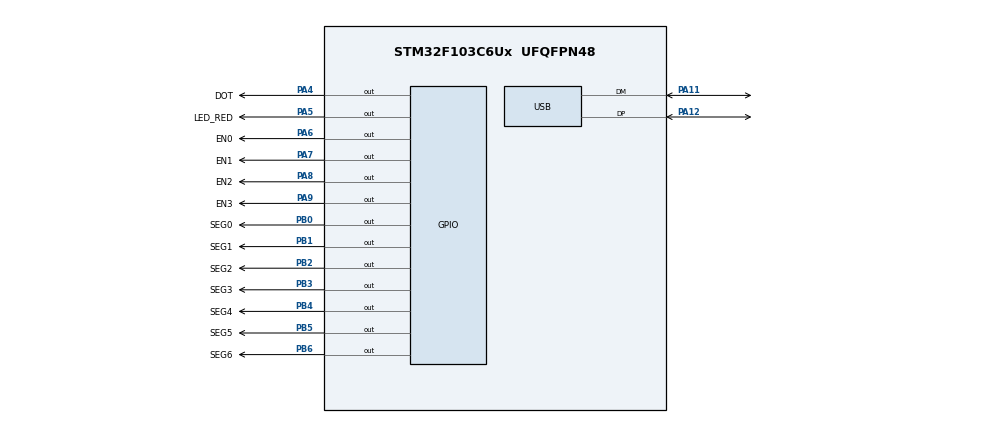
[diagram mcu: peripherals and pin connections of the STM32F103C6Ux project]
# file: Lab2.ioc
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Mcu.Family=STM32F1
Mcu.Name=STM32F103C6Ux
Mcu.Package=UFQFPN48
NVIC.PriorityGroup=NVIC_PRIORITYGROUP_4
NVIC.TIM2_IRQn=true\:0\:0\:false\:false\:true\:true\:true
NVIC.USB_HP_CAN1_TX_IRQn=true\:0\:0\:false\:false\:true\:true\:true
NVIC.USB_LP_CAN1_RX0_IRQn=true\:0\:0\:false\:false\:true\:true\:true
PA11.Mode=Device
PA11.Signal=USB_DM
PA12.Mode=Device
PA12.Signal=USB_DP
PA13.Mode=Serial_Wire
PA13.Signal=SYS_JTMS-SWDIO
PA14.Mode=Serial_Wire
PA14.Signal=SYS_JTCK-SWCLK
PA4.GPIO_Label=DOT
PA4.Signal=GPIO_Output
PA5.GPIO_Label=LED_RED
PA5.Signal=GPIO_Output
PA6.GPIO_Label=EN0
PA6.Signal=GPIO_Output
PA7.GPIO_Label=EN1
PA7.Signal=GPIO_Output
PA8.GPIO_Label=EN2
PA8.Signal=GPIO_Output
PA9.GPIO_Label=EN3
PA9.Signal=GPIO_Output
PB0.GPIO_Label=SEG0
PB0.Signal=GPIO_Output
PB1.GPIO_Label=SEG1
PB1.Signal=GPIO_Output
PB2.GPIO_Label=SEG2
PB2.Signal=GPIO_Output
PB3.GPIO_Label=SEG3
PB3.Signal=GPIO_Output
PB4.GPIO_Label=SEG4
PB4.Signal=GPIO_Output
PB5.GPIO_Label=SEG5
PB5.Signal=GPIO_Output
PB6.GPIO_Label=SEG6
PB6.Signal=GPIO_Output
ProjectManager.HeapSize=0x200
ProjectManager.StackSize=0x400
ProjectManager.TargetToolchain=STM32CubeIDE
RCC.APB1Freq_Value=8000000
RCC.APB2Freq_Value=8000000
RCC.PLLSource=RCC_PLLSOURCE_HSI_DIV2
RCC.PLLSourceVirtual=RCC_PLLSOURCE_HSI_DIV2
TIM2.Period=9
TIM2.Prescaler=7999
VP_TIM2_VS_ClockSourceINT.Mode=Internal
board=custom

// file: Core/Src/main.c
/* USER CODE BEGIN Header */
/**
  ******************************************************************************
  * @file           : main.c
  * @brief          : Main program body
  ******************************************************************************
  * @attention
  *
  * <h2><center>&copy; Copyright (c) 2023 STMicroelectronics.
  * All rights reserved.</center></h2>
  *
  * This software component is licensed by ST under BSD 3-Clause license,
  * the "License"; You may not use this file except in compliance with the
  * License. You may obtain a copy of the License at:
  *                        opensource.org/licenses/BSD-3-Clause
  *
  ******************************************************************************
  */
/* USER CODE END Header */
#include "main.h"

TIM_HandleTypeDef htim2;

PCD_HandleTypeDef hpcd_USB_FS;

void SystemClock_Config(void);
static void MX_GPIO_Init(void);
static void MX_TIM2_Init(void);
static void MX_USB_PCD_Init(void);

/* USER CODE BEGIN 0 */
void display7SEG(int num){
	  if( num == 0){
		  	  	  HAL_GPIO_WritePin(SEG0_GPIO_Port, SEG0_Pin, RESET);
		  	  	  HAL_GPIO_WritePin(SEG1_GPIO_Port, SEG1_Pin, RESET);
		  	  	  HAL_GPIO_WritePin(SEG2_GPIO_Port, SEG2_Pin, RESET);
		  	  	  HAL_GPIO_WritePin(SEG3_GPIO_Port, SEG3_Pin, RESET);
		  	  	  HAL_GPIO_WritePin(SEG4_GPIO_Port, SEG4_Pin, RESET);
		  	  	  HAL_GPIO_WritePin(SEG5_GPIO_Port, SEG5_Pin, RESET);
		  	  	  HAL_GPIO_WritePin(SEG6_GPIO_Port, SEG6_Pin, SET);
	  }
	  else if( num == 1){
	    	  	  HAL_GPIO_WritePin(SEG0_GPIO_Port, SEG0_Pin, SET);
	    	  	  HAL_GPIO_WritePin(SEG1_GPIO_Port, SEG1_Pin, RESET);
	    	  	  HAL_GPIO_WritePin(SEG2_GPIO_Port, SEG2_Pin, RESET);
	    	  	  HAL_GPIO_WritePin(SEG3_GPIO_Port, SEG3_Pin, SET);
	    	  	  HAL_GPIO_WritePin(SEG4_GPIO_Port, SEG4_Pin, SET);
	    	  	  HAL_GPIO_WritePin(SEG5_GPIO_Port, SEG5_Pin, SET);
	    	  	  HAL_GPIO_WritePin(SEG6_GPIO_Port, SEG6_Pin, SET);
	  }
	  else if( num == 2){
	    	  	  HAL_GPIO_WritePin(SEG0_GPIO_Port, SEG0_Pin, RESET);
	    	  	  HAL_GPIO_WritePin(SEG1_GPIO_Port, SEG1_Pin, RESET);
	    	  	  HAL_GPIO_WritePin(SEG2_GPIO_Port, SEG2_Pin, SET);
	    	  	  HAL_GPIO_WritePin(SEG3_GPIO_Port, SEG3_Pin, RESET);
	    	  	  HAL_GPIO_WritePin(SEG4_GPIO_Port, SEG4_Pin, RESET);
	    	  	  HAL_GPIO_WritePin(SEG5_GPIO_Port, SEG5_Pin, SET);
	    	  	  HAL_GPIO_WritePin(SEG6_GPIO_Port, SEG6_Pin, RESET);
	  }
	  else if( num == 3){
	    	  	  HAL_GPIO_WritePin(SEG0_GPIO_Port, SEG0_Pin, RESET);
	    	  	  HAL_GPIO_WritePin(SEG1_GPIO_Port, SEG1_Pin, RESET);
	    	  	  HAL_GPIO_WritePin(SEG2_GPIO_Port, SEG2_Pin, RESET);
	    	  	  HAL_GPIO_WritePin(SEG3_GPIO_Port, SEG3_Pin, RESET);
	    	  	  HAL_GPIO_WritePin(SEG4_GPIO_Port, SEG4_Pin, SET);
	    	  	  HAL_GPIO_WritePin(SEG5_GPIO_Port, SEG5_Pin, SET);
	    	  	  HAL_GPIO_WritePin(SEG6_GPIO_Port, SEG6_Pin, RESET);
	  }
	  else if( num == 4){
	    	  	  HAL_GPIO_WritePin(SEG0_GPIO_Port, SEG0_Pin, SET);
	    	  	  HAL_GPIO_WritePin(SEG1_GPIO_Port, SEG1_Pin, RESET);
	    	  	  HAL_GPIO_WritePin(SEG2_GPIO_Port, SEG2_Pin, RESET);
	    	  	  HAL_GPIO_WritePin(SEG3_GPIO_Port, SEG3_Pin, SET);
	    	  	  HAL_GPIO_WritePin(SEG4_GPIO_Port, SEG4_Pin, SET);
	    	  	  HAL_GPIO_WritePin(SEG5_GPIO_Port, SEG5_Pin, RESET);
	    	  	  HAL_GPIO_WritePin(SEG6_GPIO_Port, SEG6_Pin, RESET);
	  }
	  else if( num == 5){
	    	  	  HAL_GPIO_WritePin(SEG0_GPIO_Port, SEG0_Pin, RESET);
	    	  	  HAL_GPIO_WritePin(SEG1_GPIO_Port, SEG1_Pin, SET);
	    	  	  HAL_GPIO_WritePin(SEG2_GPIO_Port, SEG2_Pin, RESET);
	    	  	  HAL_GPIO_WritePin(SEG3_GPIO_Port, SEG3_Pin, RESET);
	    	  	  HAL_GPIO_WritePin(SEG4_GPIO_Port, SEG4_Pin, SET);
	    	  	  HAL_GPIO_WritePin(SEG5_GPIO_Port, SEG5_Pin, RESET);
	    	  	  HAL_GPIO_WritePin(SEG6_GPIO_Port, SEG6_Pin, RESET);
	  }
	  else if( num == 6){
	    	  	  HAL_GPIO_WritePin(SEG0_GPIO_Port, SEG0_Pin, RESET);
	    	  	  HAL_GPIO_WritePin(SEG1_GPIO_Port, SEG1_Pin, SET);
	    	  	  HAL_GPIO_WritePin(SEG2_GPIO_Port, SEG2_Pin, RESET);
	    	  	  HAL_GPIO_WritePin(SEG3_GPIO_Port, SEG3_Pin, RESET);
	    	  	  HAL_GPIO_WritePin(SEG4_GPIO_Port, SEG4_Pin, RESET);
	    	  	  HAL_GPIO_WritePin(SEG5_GPIO_Port, SEG5_Pin, RESET);
	    	  	  HAL_GPIO_WritePin(SEG6_GPIO_Port, SEG6_Pin, RESET);
	  }
	  else if( num == 7){
	    	  	  HAL_GPIO_WritePin(SEG0_GPIO_Port, SEG0_Pin, RESET);
	    	  	  HAL_GPIO_WritePin(SEG1_GPIO_Port, SEG1_Pin, RESET);
	    	  	  HAL_GPIO_WritePin(SEG2_GPIO_Port, SEG2_Pin, RESET);
	    	  	  HAL_GPIO_WritePin(SEG3_GPIO_Port, SEG3_Pin, SET);
	    	  	  HAL_GPIO_WritePin(SEG4_GPIO_Port, SEG4_Pin, SET);
	    	  	  HAL_GPIO_WritePin(SEG5_GPIO_Port, SEG5_Pin, SET);
	    	  	  HAL_GPIO_WritePin(SEG6_GPIO_Port, SEG6_Pin, SET);
	  }
	  else if( num == 8){
	    	  	  HAL_GPIO_WritePin(SEG0_GPIO_Port, SEG0_Pin, RESET);
	    	  	  HAL_GPIO_WritePin(SEG1_GPIO_Port, SEG1_Pin, RESET);
	    	  	  HAL_GPIO_WritePin(SEG2_GPIO_Port, SEG2_Pin, RESET);
	    	  	  HAL_GPIO_WritePin(SEG3_GPIO_Port, SEG3_Pin, RESET);
	    	  	  HAL_GPIO_WritePin(SEG4_GPIO_Port, SEG4_Pin, RESET);
	    	  	  HAL_GPIO_WritePin(SEG5_GPIO_Port, SEG5_Pin, RESET);
	    	  	  HAL_GPIO_WritePin(SEG6_GPIO_Port, SEG6_Pin, RESET);
	  }
	  else if( num == 9){
	    	  	  HAL_GPIO_WritePin(SEG0_GPIO_Port, SEG0_Pin, RESET);
	    	  	  HAL_GPIO_WritePin(SEG1_GPIO_Port, SEG1_Pin, RESET);
	    	  	  HAL_GPIO_WritePin(SEG2_GPIO_Port, SEG2_Pin, RESET);
	    	  	  HAL_GPIO_WritePin(SEG3_GPIO_Port, SEG3_Pin, RESET);
	    	  	  HAL_GPIO_WritePin(SEG4_GPIO_Port, SEG4_Pin, SET);
	    	  	  HAL_GPIO_WritePin(SEG5_GPIO_Port, SEG5_Pin, RESET);
	    	  	  HAL_GPIO_WritePin(SEG6_GPIO_Port, SEG6_Pin, RESET);
	  }

}
const int MAX_LED = 4;
int index_led = 0;
int led_buffer[4] = {1, 2, 3, 4};
void update7SEG(int index){
    switch (index){
		case 0: {
			display7SEG(led_buffer[index]);
			break ;
		}
		case 1:{
			display7SEG(led_buffer[index]);
			break ;
		}
		case 2:{
			display7SEG(led_buffer[index]);
			break ;
		}
		case 3:{
			display7SEG(led_buffer[index]);
			break ;
		}
		default :{
		break ;
		}
    }
}
void updateClockBuffer(int hour, int minute){
	if (hour < 10){
		led_buffer[0] = 0;
		led_buffer[1] = hour;
	} else {
		led_buffer[0] = hour / 10;
		led_buffer[1] = hour % 10;
	}
	if (minute < 10){
		led_buffer[2] = 0;
		led_buffer[3] = minute;
	} else {
		led_buffer[2] = minute / 10;
		led_buffer[3] = minute % 10;
	}
}

/* USER CODE END 0 */

int main(void)
{

  /* MCU Configuration--------------------------------------------------------*/

  /* Reset of all peripherals, Initializes the Flash interface and the Systick. */
  HAL_Init();

  /* Configure the system clock */
  SystemClock_Config();

  /* Initialize all configured peripherals */
  MX_GPIO_Init();
  MX_TIM2_Init();
  MX_USB_PCD_Init();
  /* USER CODE BEGIN 2 */
  HAL_TIM_Base_Start_IT(&htim2);
  /* USER CODE END 2 */
  int hour = 15 , minute = 8 , second = 50;
  /* Infinite loop */
  /* USER CODE BEGIN WHILE */
  while (1)
  {
	  second ++;
	  if ( second >= 60) {
	  	  second = 0;
	  	   minute ++;
	  }
	  if( minute >= 60) {
	  	   minute = 0;
	  	   hour ++;
	  }
	  if( hour >=24){
	  	   hour = 0;
	  }
	  updateClockBuffer (hour, minute);
	  HAL_Delay (1000) ;
    /* USER CODE END WHILE */

  }
}

void SystemClock_Config(void)
{
  RCC_OscInitTypeDef RCC_OscInitStruct = {0};
  RCC_ClkInitTypeDef RCC_ClkInitStruct = {0};
  RCC_PeriphCLKInitTypeDef PeriphClkInit = {0};

  /** Initializes the RCC Oscillators according to the specified parameters
  * in the RCC_OscInitTypeDef structure.
  */
  RCC_OscInitStruct.OscillatorType = RCC_OSCILLATORTYPE_HSI;
  RCC_OscInitStruct.HSIState = RCC_HSI_ON;
  RCC_OscInitStruct.HSICalibrationValue = RCC_HSICALIBRATION_DEFAULT;
  RCC_OscInitStruct.PLL.PLLState = RCC_PLL_ON;
  RCC_OscInitStruct.PLL.PLLSource = RCC_PLLSOURCE_HSI_DIV2;
  RCC_OscInitStruct.PLL.PLLMUL = RCC_PLL_MUL2;
  if (HAL_RCC_OscConfig(&RCC_OscInitStruct) != HAL_OK)
  {
    Error_Handler();
  }
  /** Initializes the CPU, AHB and APB buses clocks
  */
  RCC_ClkInitStruct.ClockType = RCC_CLOCKTYPE_HCLK|RCC_CLOCKTYPE_SYSCLK
                              |RCC_CLOCKTYPE_PCLK1|RCC_CLOCKTYPE_PCLK2;
  RCC_ClkInitStruct.SYSCLKSource = RCC_SYSCLKSOURCE_HSI;
  RCC_ClkInitStruct.AHBCLKDivider = RCC_SYSCLK_DIV1;
  RCC_ClkInitStruct.APB1CLKDivider = RCC_HCLK_DIV1;
  RCC_ClkInitStruct.APB2CLKDivider = RCC_HCLK_DIV1;

  if (HAL_RCC_ClockConfig(&RCC_ClkInitStruct, FLASH_LATENCY_0) != HAL_OK)
  {
    Error_Handler();
  }
  PeriphClkInit.PeriphClockSelection = RCC_PERIPHCLK_USB;
  PeriphClkInit.UsbClockSelection = RCC_USBCLKSOURCE_PLL;
  if (HAL_RCCEx_PeriphCLKConfig(&PeriphClkInit) != HAL_OK)
  {
    Error_Handler();
  }
}

static void MX_TIM2_Init(void)
{

  TIM_ClockConfigTypeDef sClockSourceConfig = {0};
  TIM_MasterConfigTypeDef sMasterConfig = {0};

  htim2.Instance = TIM2;
  htim2.Init.Prescaler = 7999;
  htim2.Init.CounterMode = TIM_COUNTERMODE_UP;
  htim2.Init.Period = 9;
  htim2.Init.ClockDivision = TIM_CLOCKDIVISION_DIV1;
  htim2.Init.AutoReloadPreload = TIM_AUTORELOAD_PRELOAD_DISABLE;
  if (HAL_TIM_Base_Init(&htim2) != HAL_OK)
  {
    Error_Handler();
  }
  sClockSourceConfig.ClockSource = TIM_CLOCKSOURCE_INTERNAL;
  if (HAL_TIM_ConfigClockSource(&htim2, &sClockSourceConfig) != HAL_OK)
  {
    Error_Handler();
  }
  sMasterConfig.MasterOutputTrigger = TIM_TRGO_RESET;
  sMasterConfig.MasterSlaveMode = TIM_MASTERSLAVEMODE_DISABLE;
  if (HAL_TIMEx_MasterConfigSynchronization(&htim2, &sMasterConfig) != HAL_OK)
  {
    Error_Handler();
  }

}

static void MX_USB_PCD_Init(void)
{

  hpcd_USB_FS.Instance = USB;
  hpcd_USB_FS.Init.dev_endpoints = 8;
  hpcd_USB_FS.Init.speed = PCD_SPEED_FULL;
  hpcd_USB_FS.Init.low_power_enable = DISABLE;
  hpcd_USB_FS.Init.lpm_enable = DISABLE;
  hpcd_USB_FS.Init.battery_charging_enable = DISABLE;
  if (HAL_PCD_Init(&hpcd_USB_FS) != HAL_OK)
  {
    Error_Handler();
  }

}

static void MX_GPIO_Init(void)
{
  GPIO_InitTypeDef GPIO_InitStruct = {0};

  /* GPIO Ports Clock Enable */
  __HAL_RCC_GPIOA_CLK_ENABLE();
  __HAL_RCC_GPIOB_CLK_ENABLE();

  /*Configure GPIO pin Output Level */
  HAL_GPIO_WritePin(GPIOA, DOT_Pin|LED_RED_Pin|EN0_Pin|EN1_Pin
                          |EN2_Pin|EN3_Pin, GPIO_PIN_RESET);

  /*Configure GPIO pin Output Level */
  HAL_GPIO_WritePin(GPIOB, SEG0_Pin|SEG1_Pin|SEG2_Pin|SEG3_Pin
                          |SEG4_Pin|SEG5_Pin|SEG6_Pin, GPIO_PIN_RESET);

  /*Configure GPIO pins : DOT_Pin LED_RED_Pin EN0_Pin EN1_Pin
                           EN2_Pin EN3_Pin */
  GPIO_InitStruct.Pin = DOT_Pin|LED_RED_Pin|EN0_Pin|EN1_Pin
                          |EN2_Pin|EN3_Pin;
  GPIO_InitStruct.Mode = GPIO_MODE_OUTPUT_PP;
  GPIO_InitStruct.Pull = GPIO_NOPULL;
  GPIO_InitStruct.Speed = GPIO_SPEED_FREQ_LOW;
  HAL_GPIO_Init(GPIOA, &GPIO_InitStruct);

  /*Configure GPIO pins : SEG0_Pin SEG1_Pin SEG2_Pin SEG3_Pin
                           SEG4_Pin SEG5_Pin SEG6_Pin */
  GPIO_InitStruct.Pin = SEG0_Pin|SEG1_Pin|SEG2_Pin|SEG3_Pin
                          |SEG4_Pin|SEG5_Pin|SEG6_Pin;
  GPIO_InitStruct.Mode = GPIO_MODE_OUTPUT_PP;
  GPIO_InitStruct.Pull = GPIO_NOPULL;
  GPIO_InitStruct.Speed = GPIO_SPEED_FREQ_LOW;
  HAL_GPIO_Init(GPIOB, &GPIO_InitStruct);

}

/* USER CODE BEGIN 4 */
int counter = 25;
int flag = 0;
void HAL_TIM_PeriodElapsedCallback ( TIM_HandleTypeDef * htim )
{
	//timerRun();
	counter --;
		if( counter <= 0){
		counter = 25;
		HAL_GPIO_TogglePin(LED_RED_GPIO_Port, LED_RED_Pin);

		if (flag == 0 ){
			//HAL_GPIO_TogglePin(EN0_GPIO_Port, EN0_Pin);
			HAL_GPIO_WritePin(EN0_GPIO_Port, EN0_Pin, GPIO_PIN_RESET);
			HAL_GPIO_WritePin(EN1_GPIO_Port, EN1_Pin, GPIO_PIN_SET);
			HAL_GPIO_WritePin(EN2_GPIO_Port, EN2_Pin, GPIO_PIN_SET);
			HAL_GPIO_WritePin(EN3_GPIO_Port, EN3_Pin, GPIO_PIN_SET);
			flag = 1;
			update7SEG(index_led);
			index_led++;
			HAL_GPIO_TogglePin(DOT_GPIO_Port, DOT_Pin); // 0.25*4 =1(s)
		}
		else if (flag == 1) {
			//HAL_GPIO_TogglePin(EN1_GPIO_Port, EN1_Pin);
			HAL_GPIO_WritePin(EN0_GPIO_Port, EN0_Pin, GPIO_PIN_SET);
			HAL_GPIO_WritePin(EN1_GPIO_Port, EN1_Pin, GPIO_PIN_RESET);
			HAL_GPIO_WritePin(EN2_GPIO_Port, EN2_Pin, GPIO_PIN_SET);
			HAL_GPIO_WritePin(EN3_GPIO_Port, EN3_Pin, GPIO_PIN_SET);
			flag = 2;
			update7SEG(index_led);
			index_led++;
		}
		else if (flag == 2) {
			//HAL_GPIO_TogglePin(EN1_GPIO_Port, EN1_Pin);
			HAL_GPIO_WritePin(EN0_GPIO_Port, EN0_Pin, GPIO_PIN_SET);
			HAL_GPIO_WritePin(EN1_GPIO_Port, EN1_Pin, GPIO_PIN_SET);
			HAL_GPIO_WritePin(EN2_GPIO_Port, EN2_Pin, GPIO_PIN_RESET);
			HAL_GPIO_WritePin(EN3_GPIO_Port, EN3_Pin, GPIO_PIN_SET);
			flag = 3;
			update7SEG(index_led);
			index_led++;
		}
		else if (flag == 3) {
			//HAL_GPIO_TogglePin(EN1_GPIO_Port, EN1_Pin);
			HAL_GPIO_WritePin(EN0_GPIO_Port, EN0_Pin, GPIO_PIN_SET);
			HAL_GPIO_WritePin(EN1_GPIO_Port, EN1_Pin, GPIO_PIN_SET);
			HAL_GPIO_WritePin(EN2_GPIO_Port, EN2_Pin, GPIO_PIN_SET);
			HAL_GPIO_WritePin(EN3_GPIO_Port, EN3_Pin, GPIO_PIN_RESET);
			flag = 0;
			update7SEG(index_led);
			index_led = 0;
			}
		}
}
/* USER CODE END 4 */

void Error_Handler(void)
{
  __disable_irq();
  while (1)
  {
  }
}

/************************ (C) COPYRIGHT STMicroelectronics *****END OF FILE****/
